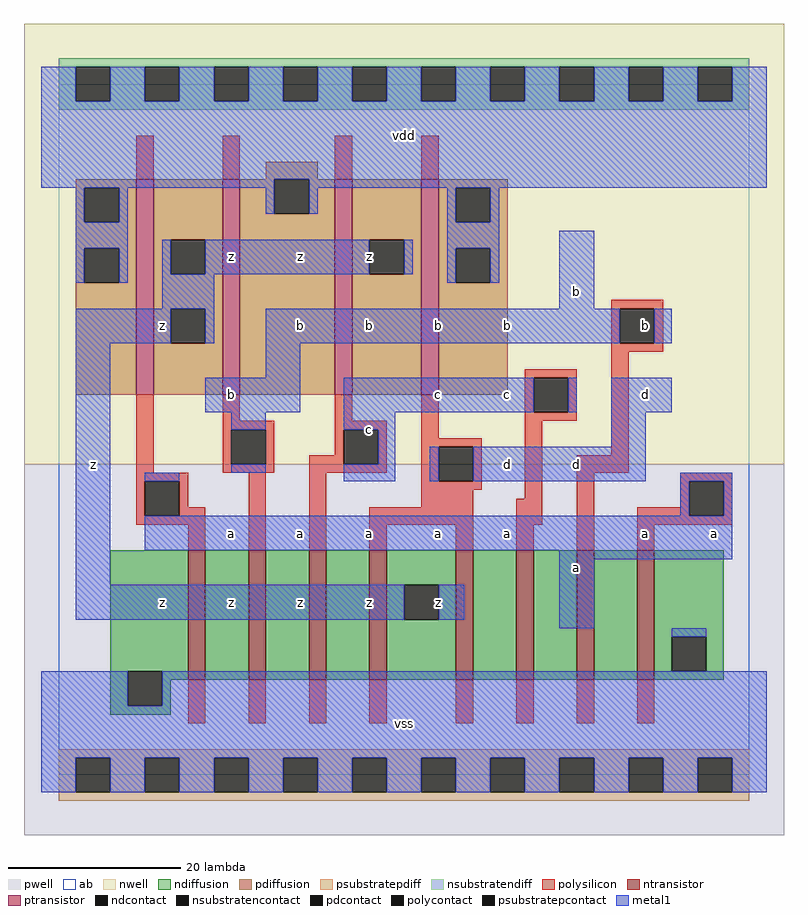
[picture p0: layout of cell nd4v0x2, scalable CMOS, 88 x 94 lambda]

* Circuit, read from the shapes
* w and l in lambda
.subckt nd4v0x2 a b c d vdd vss z
M1 n1 a vss vss nfet w=15 l=2
M2 n2 b n1 vss nfet w=15 l=2
M3 n3 c n2 vss nfet w=15 l=2
M4 z d n3 vss nfet w=15 l=2
M5 n4 d z vss nfet w=15 l=2
M6 n5 c n4 vss nfet w=15 l=2
M7 n6 b n5 vss nfet w=15 l=2
M8 vss a n6 vss nfet w=15 l=2
M9 z a vdd vdd pfet w=25 l=2
M10 vdd b z vdd pfet w=25 l=2
M11 z c vdd vdd pfet w=25 l=2
M12 vdd d z vdd pfet w=25 l=2
.ends

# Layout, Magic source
magic
tech scmos
<< ab >>
rect 0 0 80 80
<< pwell >>
rect -4 -7 84 36
<< nwell >>
rect -4 36 84 87
<< polysilicon >>
rect 9 69 11 74
rect 19 69 21 74
rect 32 69 34 74
rect 42 69 44 74
rect 64 54 70 55
rect 64 50 65 54
rect 69 50 70 54
rect 64 49 70 50
rect 54 46 60 47
rect 9 35 11 44
rect 19 41 21 44
rect 32 41 34 44
rect 19 40 25 41
rect 19 36 20 40
rect 24 36 25 40
rect 32 40 38 41
rect 32 37 33 40
rect 19 35 25 36
rect 29 36 33 37
rect 37 36 38 40
rect 29 35 38 36
rect 42 39 44 44
rect 54 42 55 46
rect 59 42 60 46
rect 54 41 60 42
rect 42 38 49 39
rect 9 34 15 35
rect 9 30 10 34
rect 14 31 15 34
rect 14 30 17 31
rect 9 29 17 30
rect 15 26 17 29
rect 22 26 24 35
rect 29 26 31 35
rect 42 34 44 38
rect 48 34 49 38
rect 42 33 49 34
rect 42 31 48 33
rect 54 32 56 41
rect 64 37 66 49
rect 36 29 48 31
rect 36 26 38 29
rect 46 26 48 29
rect 53 29 56 32
rect 60 35 66 37
rect 53 26 55 29
rect 60 26 62 35
rect 72 34 78 35
rect 72 31 73 34
rect 67 30 73 31
rect 77 30 78 34
rect 67 29 78 30
rect 67 26 69 29
rect 15 6 17 11
rect 22 6 24 11
rect 29 6 31 11
rect 36 6 38 11
rect 46 6 48 11
rect 53 6 55 11
rect 60 6 62 11
rect 67 6 69 11
<< ndiffusion >>
rect 6 12 15 26
rect 6 8 8 12
rect 12 11 15 12
rect 17 11 22 26
rect 24 11 29 26
rect 31 11 36 26
rect 38 22 46 26
rect 38 18 40 22
rect 44 18 46 22
rect 38 11 46 18
rect 48 11 53 26
rect 55 11 60 26
rect 62 11 67 26
rect 69 16 77 26
rect 69 12 71 16
rect 75 12 77 16
rect 69 11 77 12
rect 12 8 13 11
rect 6 7 13 8
<< pdiffusion >>
rect 24 69 30 71
rect 2 68 9 69
rect 2 64 3 68
rect 7 64 9 68
rect 2 61 9 64
rect 2 57 3 61
rect 7 57 9 61
rect 2 44 9 57
rect 11 62 19 69
rect 11 58 13 62
rect 17 58 19 62
rect 11 54 19 58
rect 11 50 13 54
rect 17 50 19 54
rect 11 44 19 50
rect 21 65 25 69
rect 29 65 32 69
rect 21 44 32 65
rect 34 62 42 69
rect 34 58 36 62
rect 40 58 42 62
rect 34 44 42 58
rect 44 68 52 69
rect 44 64 46 68
rect 50 64 52 68
rect 44 61 52 64
rect 44 57 46 61
rect 50 57 52 61
rect 44 44 52 57
<< metal1 >>
rect -2 78 2 82
rect 6 78 10 82
rect 14 78 18 82
rect 22 78 26 82
rect 30 78 34 82
rect 38 78 42 82
rect 46 78 50 82
rect 54 78 58 82
rect 62 78 66 82
rect 70 78 74 82
rect 78 78 82 82
rect -2 69 82 78
rect -2 68 25 69
rect 2 64 3 68
rect 7 64 8 68
rect 24 65 25 68
rect 29 68 82 69
rect 29 65 30 68
rect 2 61 8 64
rect 45 64 46 68
rect 50 64 51 68
rect 2 57 3 61
rect 7 57 8 61
rect 12 58 13 62
rect 17 58 36 62
rect 40 58 41 62
rect 45 61 51 64
rect 12 54 18 58
rect 45 57 46 61
rect 50 57 51 61
rect 58 54 62 63
rect 2 50 13 54
rect 17 50 18 54
rect 24 50 65 54
rect 69 50 71 54
rect 2 22 6 50
rect 24 46 28 50
rect 17 42 28 46
rect 33 42 55 46
rect 59 42 60 46
rect 64 42 71 46
rect 20 40 24 42
rect 20 35 24 36
rect 33 40 39 42
rect 37 36 39 40
rect 64 38 68 42
rect 10 34 14 35
rect 33 34 39 36
rect 43 34 44 38
rect 48 34 68 38
rect 72 34 78 35
rect 72 30 73 34
rect 77 30 78 34
rect 10 26 78 30
rect 58 25 78 26
rect 2 18 40 22
rect 44 18 47 22
rect 58 17 62 25
rect 71 16 75 17
rect -2 8 8 12
rect 12 8 82 12
rect -2 2 82 8
rect -2 -2 2 2
rect 6 -2 10 2
rect 14 -2 18 2
rect 22 -2 26 2
rect 30 -2 34 2
rect 38 -2 42 2
rect 46 -2 50 2
rect 54 -2 58 2
rect 62 -2 66 2
rect 70 -2 74 2
rect 78 -2 82 2
<< ntransistor >>
rect 15 11 17 26
rect 22 11 24 26
rect 29 11 31 26
rect 36 11 38 26
rect 46 11 48 26
rect 53 11 55 26
rect 60 11 62 26
rect 67 11 69 26
<< ptransistor >>
rect 9 44 11 69
rect 19 44 21 69
rect 32 44 34 69
rect 42 44 44 69
<< polycontact >>
rect 65 50 69 54
rect 20 36 24 40
rect 33 36 37 40
rect 55 42 59 46
rect 10 30 14 34
rect 44 34 48 38
rect 73 30 77 34
<< ndcontact >>
rect 8 8 12 12
rect 40 18 44 22
rect 71 12 75 16
<< pdcontact >>
rect 3 64 7 68
rect 3 57 7 61
rect 13 58 17 62
rect 13 50 17 54
rect 25 65 29 69
rect 36 58 40 62
rect 46 64 50 68
rect 46 57 50 61
<< psubstratepcontact >>
rect 2 -2 6 2
rect 10 -2 14 2
rect 18 -2 22 2
rect 26 -2 30 2
rect 34 -2 38 2
rect 42 -2 46 2
rect 50 -2 54 2
rect 58 -2 62 2
rect 66 -2 70 2
rect 74 -2 78 2
<< nsubstratencontact >>
rect 2 78 6 82
rect 10 78 14 82
rect 18 78 22 82
rect 26 78 30 82
rect 34 78 38 82
rect 42 78 46 82
rect 50 78 54 82
rect 58 78 62 82
rect 66 78 70 82
rect 74 78 78 82
<< psubstratepdiff >>
rect 0 2 80 3
rect 0 -2 2 2
rect 6 -2 10 2
rect 14 -2 18 2
rect 22 -2 26 2
rect 30 -2 34 2
rect 38 -2 42 2
rect 46 -2 50 2
rect 54 -2 58 2
rect 62 -2 66 2
rect 70 -2 74 2
rect 78 -2 80 2
rect 0 -3 80 -2
<< nsubstratendiff >>
rect 0 82 80 83
rect 0 78 2 82
rect 6 78 10 82
rect 14 78 18 82
rect 22 78 26 82
rect 30 78 34 82
rect 38 78 42 82
rect 46 78 50 82
rect 54 78 58 82
rect 62 78 66 82
rect 70 78 74 82
rect 78 78 80 82
rect 0 77 80 78
<< labels >>
rlabel metal1 4 36 4 36 6 z
rlabel metal1 12 20 12 20 6 z
rlabel metal1 20 20 20 20 6 z
rlabel metal1 20 28 20 28 6 a
rlabel metal1 28 20 28 20 6 z
rlabel metal1 28 28 28 28 6 a
rlabel metal1 20 44 20 44 6 b
rlabel metal1 28 52 28 52 6 b
rlabel metal1 12 52 12 52 6 z
rlabel metal1 20 60 20 60 6 z
rlabel metal1 28 60 28 60 6 z
rlabel metal1 40 6 40 6 6 vss
rlabel metal1 36 20 36 20 6 z
rlabel metal1 36 28 36 28 6 a
rlabel metal1 44 20 44 20 6 z
rlabel metal1 44 28 44 28 6 a
rlabel metal1 36 40 36 40 6 c
rlabel metal1 44 44 44 44 6 c
rlabel metal1 36 52 36 52 6 b
rlabel metal1 44 52 44 52 6 b
rlabel metal1 36 60 36 60 6 z
rlabel metal1 40 74 40 74 6 vdd
rlabel metal1 52 28 52 28 6 a
rlabel metal1 60 24 60 24 6 a
rlabel metal1 52 36 52 36 6 d
rlabel metal1 52 44 52 44 6 c
rlabel metal1 60 36 60 36 6 d
rlabel metal1 52 52 52 52 6 b
rlabel metal1 60 56 60 56 6 b
rlabel metal1 68 28 68 28 6 a
rlabel metal1 76 28 76 28 6 a
rlabel metal1 68 44 68 44 6 d
rlabel polycontact 68 52 68 52 6 b
<< end >>
